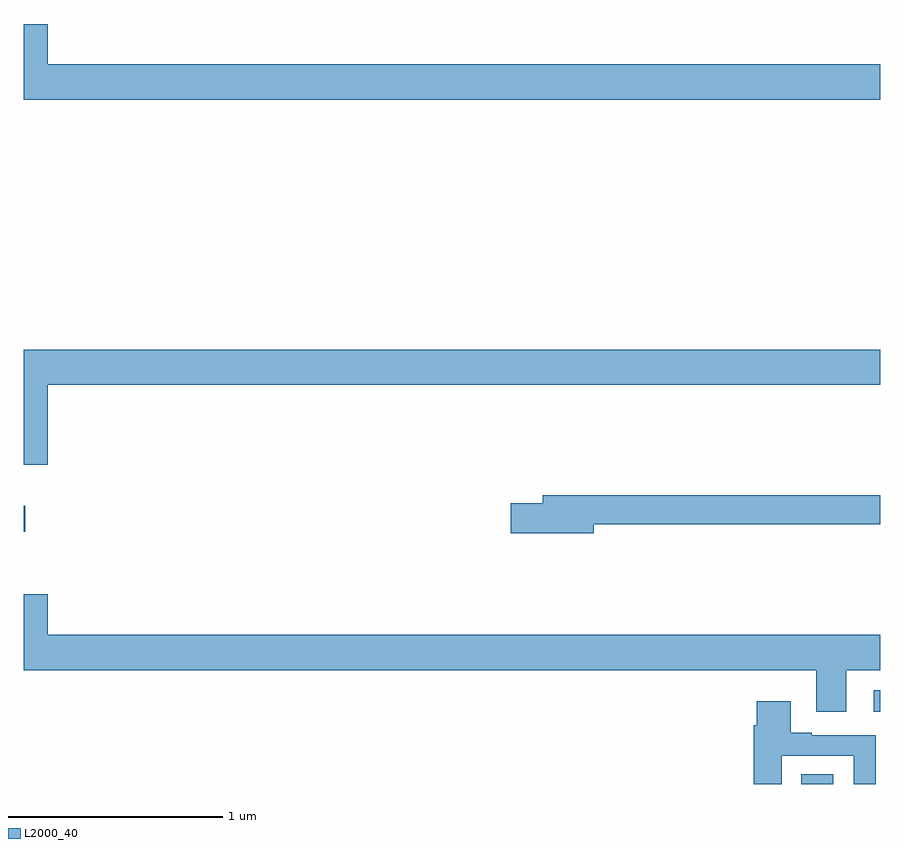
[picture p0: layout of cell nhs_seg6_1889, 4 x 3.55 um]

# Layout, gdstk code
import gdstk
lib = gdstk.Library(unit=1e-6, precision=1e-09)
def R(c, l, rs):  # rectangles x0, y0, x1, y1
    for r in rs: c.add(gdstk.rectangle(r[:2], r[2:], *l))
def P(c, l, *ps):  # polygons
    for p in ps: c.add(gdstk.Polygon(p, *l))
L2000_40 = (2000, 40)

nhs_seg6_1889 = lib.new_cell('nhs_seg6_1889')
R(nhs_seg6_1889, L2000_40, [(228.632,917.5,228.781,917.546), (228.969,917.837,229,917.938), (225,918.677,225.007,918.799)])
P(nhs_seg6_1889, L2000_40, [(229,920.86),(225.112,920.86),(225.112,921.049),(225,921.049),(225,920.696),(229,920.696)],
  [(225.112,919.364),(229,919.364),(229,919.528),(225,919.528),(225,918.99),(225.112,918.99)],
  [(227.662,918.712),(229,918.712),(229,918.848),(227.423,918.848),(227.423,918.812),(227.274,918.812),(227.274,918.67),(227.662,918.67)],
  [(228.841,918.032),(229,918.032),(229,918.196),(225.112,918.196),(225.112,918.385),(225,918.385),(225,918.032),(228.701,918.032),(228.701,917.838),(228.841,917.838)],
  [(228.541,917.631),(228.875,917.631),(228.875,917.5),(228.979,917.5),(228.979,917.727),(228.679,917.727),(228.679,917.74),(228.583,917.74),(228.583,917.887),(228.422,917.887),(228.422,917.774),(228.41,917.774),(228.41,917.5),(228.541,917.5)])

lib.write_gds('nhs_seg6_1889.gds')
